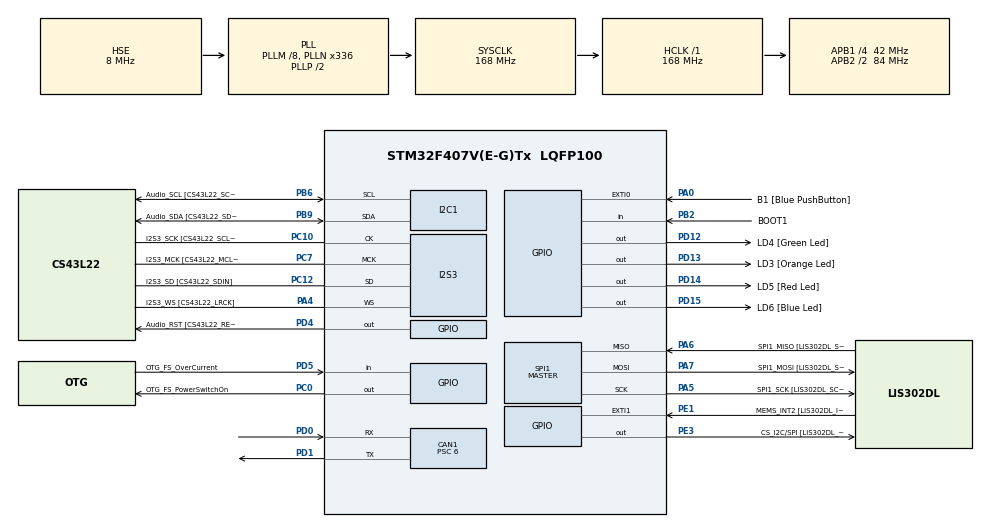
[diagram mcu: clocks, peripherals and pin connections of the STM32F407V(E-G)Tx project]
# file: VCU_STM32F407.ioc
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CAN1.ABOM=ENABLE
CAN1.BS1=CAN_BS1_11TQ
CAN1.BS2=CAN_BS2_2TQ
CAN1.CalculateBaudRate=500000
CAN1.CalculateTimeBit=2000
CAN1.CalculateTimeQuantum=142.85714285714286
CAN1.Prescaler=6
FREERTOS.INCLUDE_vTaskDelayUntil=1
FREERTOS.Tasks01=defaultTask,0,128,StartDefaultTask,Default,NULL,Dynamic,NULL,NULL
FREERTOS.configCHECK_FOR_STACK_OVERFLOW=2
FREERTOS.configMAX_PRIORITIES=20
FREERTOS.configTOTAL_HEAP_SIZE=40960
FREERTOS.configUSE_NEWLIB_REENTRANT=1
I2S3.AudioFreq-Half_Duplex_Master=I2S_AUDIOFREQ_96K
I2S3.ErrorAudioFreq=-2.34 %
I2S3.ErrorAudioFreq-Half_Duplex_Master=0.8 %
I2S3.FullDuplexMode=I2S_FULLDUPLEXMODE_DISABLE
I2S3.Instance=SPI$Index
I2S3.RealAudioFreq=93.75 KHz
I2S3.RealAudioFreq-Half_Duplex_Master=96.774 KHz
I2S3.VirtualMode=I2S_MODE_MASTER
IWDG.Prescaler=IWDG_PRESCALER_32
IWDG.Reload=500
Mcu.Family=STM32F4
Mcu.Name=STM32F407V(E-G)Tx
Mcu.Package=LQFP100
NVIC.CAN1_RX0_IRQn=true\:5\:0\:false\:false\:true\:true\:true\:true\:true
NVIC.CAN1_RX1_IRQn=true\:5\:0\:false\:false\:true\:true\:true\:true\:true
NVIC.CAN1_SCE_IRQn=true\:5\:0\:false\:false\:true\:true\:true\:true\:true
NVIC.CAN1_TX_IRQn=true\:5\:0\:false\:false\:true\:true\:true\:true\:true
NVIC.PriorityGroup=NVIC_PRIORITYGROUP_4
NVIC.TIM1_UP_TIM10_IRQn=true\:15\:0\:false\:false\:true\:false\:false\:true\:true
NVIC.TimeBase=TIM1_UP_TIM10_IRQn
NVIC.TimeBaseIP=TIM1
PA0-WKUP.GPIO_Label=B1 [Blue PushButton]
PA0-WKUP.GPIO_ModeDefaultEXTI=GPIO_MODE_EVT_RISING
PA0-WKUP.GPIO_PuPd=GPIO_NOPULL
PA0-WKUP.Signal=GPXTI0
PA10.GPIO_Label=OTG_FS_ID
PA10.GPIO_Mode=GPIO_MODE_AF_PP
PA10.GPIO_PuPd=GPIO_NOPULL
PA10.GPIO_Speed=GPIO_SPEED_FREQ_LOW
PA10.Signal=USB_OTG_FS_ID
PA11.GPIO_Label=OTG_FS_DM
PA11.GPIO_Mode=GPIO_MODE_AF_PP
PA11.GPIO_PuPd=GPIO_NOPULL
PA11.GPIO_Speed=GPIO_SPEED_FREQ_LOW
PA11.Signal=USB_OTG_FS_DM
PA12.GPIO_Label=OTG_FS_DP
PA12.GPIO_Mode=GPIO_MODE_AF_PP
PA12.GPIO_PuPd=GPIO_NOPULL
PA12.GPIO_Speed=GPIO_SPEED_FREQ_LOW
PA12.Signal=USB_OTG_FS_DP
PA13.GPIO_Label=SWDIO
PA13.Mode=Serial_Wire
PA13.Signal=SYS_JTMS-SWDIO
PA14.GPIO_Label=SWCLK
PA14.Mode=Serial_Wire
PA14.Signal=SYS_JTCK-SWCLK
PA4.GPIO_Label=I2S3_WS [CS43L22_LRCK]
PA4.GPIO_Mode=GPIO_MODE_AF_PP
PA4.GPIO_PuPd=GPIO_NOPULL
PA4.GPIO_Speed=GPIO_SPEED_FREQ_LOW
PA4.Mode=Half_Duplex_Master
PA4.Signal=I2S3_WS
PA5.GPIO_Label=SPI1_SCK [LIS302DL_SCL/SPC]
PA5.GPIO_Mode=GPIO_MODE_AF_PP
PA5.GPIO_PuPd=GPIO_NOPULL
PA5.GPIO_Speed=GPIO_SPEED_FREQ_LOW
PA5.Mode=Full_Duplex_Master
PA5.Signal=SPI1_SCK
PA6.GPIO_Label=SPI1_MISO [LIS302DL_SDO]
PA6.GPIO_Mode=GPIO_MODE_AF_PP
PA6.GPIO_PuPd=GPIO_NOPULL
PA6.GPIO_Speed=GPIO_SPEED_FREQ_LOW
PA6.Mode=Full_Duplex_Master
PA6.Signal=SPI1_MISO
PA7.GPIO_Label=SPI1_MOSI [LIS302DL_SDA/SDI/SDO]
PA7.GPIO_Mode=GPIO_MODE_AF_PP
PA7.GPIO_PuPd=GPIO_NOPULL
PA7.GPIO_Speed=GPIO_SPEED_FREQ_LOW
PA7.Mode=Full_Duplex_Master
PA7.Signal=SPI1_MOSI
PA9.GPIO_Label=VBUS_FS
PA9.GPIO_Mode=GPIO_MODE_INPUT
PA9.GPIO_PuPd=GPIO_NOPULL
PA9.Signal=USB_OTG_FS_VBUS
PB10.GPIO_Label=CLK_IN [MP45DT02_CLK]
PB10.GPIO_Mode=GPIO_MODE_AF_PP
PB10.GPIO_PuPd=GPIO_NOPULL
PB10.GPIO_Speed=GPIO_SPEED_FREQ_LOW
PB10.Signal=I2S2_CK
PB2.GPIO_Label=BOOT1
PB2.GPIO_Mode=GPIO_MODE_INPUT
PB2.GPIO_PuPd=GPIO_NOPULL
PB2.Signal=GPIO_Input
PB3.GPIO_Label=SWO
PB3.Signal=SYS_JTDO-SWO
PB6.GPIO_Label=Audio_SCL [CS43L22_SCL]
PB6.GPIO_Mode=GPIO_MODE_AF_OD
PB6.GPIO_Pu=GPIO_PULLUP
PB6.GPIO_PuPd=GPIO_NOPULL
PB6.GPIO_Speed=GPIO_SPEED_FREQ_LOW
PB6.Mode=I2C
PB6.Signal=I2C1_SCL
PB9.GPIO_Label=Audio_SDA [CS43L22_SDA]
PB9.GPIO_Mode=GPIO_MODE_AF_OD
PB9.GPIO_Pu=GPIO_PULLUP
PB9.GPIO_PuPd=GPIO_NOPULL
PB9.GPIO_Speed=GPIO_SPEED_FREQ_LOW
PB9.Mode=I2C
PB9.Signal=I2C1_SDA
PC0.GPIO_Label=OTG_FS_PowerSwitchOn
PC0.GPIO_PuPd=GPIO_NOPULL
PC0.GPIO_Speed=GPIO_SPEED_FREQ_LOW
PC0.PinState=GPIO_PIN_SET
PC0.Signal=GPIO_Output
PC10.GPIO_Label=I2S3_SCK [CS43L22_SCLK]
PC10.GPIO_Mode=GPIO_MODE_AF_PP
PC10.GPIO_PuPd=GPIO_NOPULL
PC10.GPIO_Speed=GPIO_SPEED_FREQ_LOW
PC10.Mode=Half_Duplex_Master
PC10.Signal=I2S3_CK
PC12.GPIO_Label=I2S3_SD [CS43L22_SDIN]
PC12.GPIO_Mode=GPIO_MODE_AF_PP
PC12.GPIO_PuPd=GPIO_NOPULL
PC12.GPIO_Speed=GPIO_SPEED_FREQ_LOW
PC12.Mode=Half_Duplex_Master
PC12.Signal=I2S3_SD
PC14-OSC32_IN.GPIO_Label=PC14-OSC32_IN
PC14-OSC32_IN.Mode=LSE-External-Oscillator
PC14-OSC32_IN.Signal=RCC_OSC32_IN
PC15-OSC32_OUT.GPIO_Label=PC15-OSC32_OUT
PC15-OSC32_OUT.Mode=LSE-External-Oscillator
PC15-OSC32_OUT.Signal=RCC_OSC32_OUT
PC3.GPIO_Label=PDM_OUT [MP45DT02_DOUT]
PC3.GPIO_Mode=GPIO_MODE_AF_PP
PC3.GPIO_PuPd=GPIO_NOPULL
PC3.GPIO_Speed=GPIO_SPEED_FREQ_LOW
PC3.Signal=I2S2_SD
PC7.GPIO_Label=I2S3_MCK [CS43L22_MCLK]
PC7.GPIO_Mode=GPIO_MODE_AF_PP
PC7.GPIO_PuPd=GPIO_NOPULL
PC7.GPIO_Speed=GPIO_SPEED_FREQ_LOW
PC7.Mode=Master_Clock_Activated
PC7.Signal=I2S3_MCK
PD0.GPIO_PuPd=GPIO_PULLUP
PD0.Mode=CAN_Activate
PD0.Signal=CAN1_RX
PD1.Mode=CAN_Activate
PD1.Signal=CAN1_TX
PD12.GPIO_Label=LD4 [Green Led]
PD12.GPIO_PuPd=GPIO_NOPULL
PD12.GPIO_Speed=GPIO_SPEED_FREQ_LOW
PD12.Signal=GPIO_Output
PD13.GPIO_Label=LD3 [Orange Led]
PD13.GPIO_PuPd=GPIO_NOPULL
PD13.GPIO_Speed=GPIO_SPEED_FREQ_LOW
PD13.Signal=GPIO_Output
PD14.GPIO_Label=LD5 [Red Led]
PD14.GPIO_PuPd=GPIO_NOPULL
PD14.GPIO_Speed=GPIO_SPEED_FREQ_LOW
PD14.Signal=GPIO_Output
PD15.GPIO_Label=LD6 [Blue Led]
PD15.GPIO_PuPd=GPIO_NOPULL
PD15.GPIO_Speed=GPIO_SPEED_FREQ_LOW
PD15.Signal=GPIO_Output
PD4.GPIO_Label=Audio_RST [CS43L22_RESET]
PD4.GPIO_PuPd=GPIO_NOPULL
PD4.GPIO_Speed=GPIO_SPEED_FREQ_LOW
PD4.Signal=GPIO_Output
PD5.GPIO_Label=OTG_FS_OverCurrent
PD5.GPIO_Mode=GPIO_MODE_INPUT
PD5.GPIO_PuPd=GPIO_NOPULL
PD5.Signal=GPIO_Input
PE1.GPIO_Label=MEMS_INT2 [LIS302DL_INT2]
PE1.GPIO_ModeDefaultEXTI=GPIO_MODE_EVT_RISING
PE1.GPIO_PuPd=GPIO_NOPULL
PE1.Signal=GPXTI1
PE3.GPIO_Label=CS_I2C/SPI [LIS302DL_CS_I2C/SPI]
PE3.GPIO_PuPd=GPIO_NOPULL
PE3.GPIO_Speed=GPIO_SPEED_FREQ_LOW
PE3.Signal=GPIO_Output
PH0-OSC_IN.GPIO_Label=PH0-OSC_IN
PH0-OSC_IN.Mode=HSE-External-Oscillator
PH0-OSC_IN.Signal=RCC_OSC_IN
PH1-OSC_OUT.GPIO_Label=PH1-OSC_OUT
PH1-OSC_OUT.Mode=HSE-External-Oscillator
PH1-OSC_OUT.Signal=RCC_OSC_OUT
ProjectManager.HeapSize=0x200
ProjectManager.StackSize=0x400
ProjectManager.TargetToolchain=STM32CubeIDE
RCC.48MHZClocksFreq_Value=48000000
RCC.AHBFreq_Value=168000000
RCC.APB1CLKDivider=RCC_HCLK_DIV4
RCC.APB1Freq_Value=42000000
RCC.APB1TimFreq_Value=84000000
RCC.APB2CLKDivider=RCC_HCLK_DIV2
RCC.APB2Freq_Value=84000000
RCC.APB2TimFreq_Value=168000000
RCC.CortexFreq_Value=168000000
RCC.HCLKFreq_Value=168000000
RCC.HSE_VALUE=8000000
RCC.HSI_VALUE=16000000
RCC.PLLM=8
RCC.PLLN=336
RCC.PLLQ=7
RCC.PLLSourceVirtual=RCC_PLLSOURCE_HSE
RCC.SYSCLKFreq_VALUE=168000000
RCC.SYSCLKSource=RCC_SYSCLKSOURCE_PLLCLK
RCC.VCOOutputFreq_Value=336000000
SPI1.BaudRatePrescaler-Full_Duplex_Master=SPI_BAUDRATEPRESCALER_2
SPI1.CalculateBaudRate-Full_Duplex_Master=42.0 MBits/s
SPI1.Direction=SPI_DIRECTION_2LINES
SPI1.Mode=SPI_MODE_MASTER
SPI1.Mode-Full_Duplex_Master=SPI_MODE_MASTER
SPI1.VirtualType=VM_MASTER
VP_FREERTOS_VS_CMSIS_V1.Mode=CMSIS_V1
VP_IWDG_VS_IWDG.Mode=IWDG_Activate
VP_SYS_VS_tim1.Mode=TIM1
board=STM32F407G-DISC1

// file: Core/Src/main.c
/* USER CODE BEGIN Header */
/**
 ******************************************************************************
 * @file           : main.c
 * @brief          : Main program body
 ******************************************************************************
 * @attention
 *
 * Copyright (c) 2026 STMicroelectronics.
 * All rights reserved.
 *
 * This software is licensed under terms that can be found in the LICENSE file
 * in the root directory of this software component.
 * If no LICENSE file comes with this software, it is provided AS-IS.
 *
 ******************************************************************************
 */
/* USER CODE END Header */
#include "main.h"
#include "cmsis_os.h"

/* USER CODE BEGIN Includes */

#include "stdio.h"
#include "VCU.h"
#include "structs.h"
#include "queueHandles.h"
#include "stm32Interface.h"
#include "TaskCanRX.h"
#include "selftest.h"

/* USER CODE END Includes */

CAN_HandleTypeDef hcan1;

I2C_HandleTypeDef hi2c1;

I2S_HandleTypeDef hi2s3;

IWDG_HandleTypeDef hiwdg;

SPI_HandleTypeDef hspi1;

osThreadId defaultTaskHandle;

void SystemClock_Config(void);
static void MX_GPIO_Init(void);
static void MX_I2C1_Init(void);
static void MX_I2S3_Init(void);
static void MX_SPI1_Init(void);
static void MX_CAN1_Init(void);
static void MX_IWDG_Init(void);
void StartDefaultTask(void const * argument);

/* USER CODE BEGIN PFP */
static void StartCan(void);
/* USER CODE END PFP */

/* USER CODE BEGIN 0 */

// 1 si le dernier redemarrage vient du watchdog IWDG (lu au demarrage, visible au debogueur)
volatile uint8_t lastResetByIwdg = 0;

uint8_t ubKeyNumber = 0x0;
// CAN_HandleTypeDef hcan1;

/* USER CODE END 0 */

int main(void)
{

  /* MCU Configuration--------------------------------------------------------*/

  /* Reset of all peripherals, Initializes the Flash interface and the Systick. */
  HAL_Init();

  /* USER CODE BEGIN Init */
  // Cause du dernier redemarrage : la lire avant tout, puis effacer les drapeaux pour le prochain
  lastResetByIwdg = (__HAL_RCC_GET_FLAG(RCC_FLAG_IWDGRST) != RESET) ? 1U : 0U;
  __HAL_RCC_CLEAR_RESET_FLAGS();
  /* USER CODE END Init */

  /* Configure the system clock */
  SystemClock_Config();

  /* USER CODE BEGIN SysInit */
  // L'IWDG continue de compter quand le debogueur arrete le processeur : le figer, sinon
  // chaque point d'arret redemarrerait la carte
  __HAL_DBGMCU_FREEZE_IWDG();
  /* USER CODE END SysInit */

  /* Initialize all configured peripherals */
  MX_GPIO_Init();
  MX_I2C1_Init();
  MX_I2S3_Init();
  MX_SPI1_Init();
  MX_CAN1_Init();
  MX_IWDG_Init();
  /* USER CODE BEGIN 2 */
  if (lastResetByIwdg)
  {
    printf("Redemarrage par le watchdog (IWDG) : une tache ne repondait plus\n");
  }
  /* USER CODE END 2 */

  /* Create the thread(s) */
  /* definition and creation of defaultTask */
  osThreadDef(defaultTask, StartDefaultTask, osPriorityNormal, 0, 128);
  defaultTaskHandle = osThreadCreate(osThread(defaultTask), NULL);

  /* USER CODE BEGIN RTOS_THREADS */
  /* add threads, ... */
  MainApp();
  StartCan(); // le CAN demarre une fois les queues creees par MainApp() (C1)

  /* USER CODE END RTOS_THREADS */

  /* Start scheduler */
  osKernelStart();

  /* We should never get here as control is now taken by the scheduler */

  /* Infinite loop */
  while (1)
  {

    /* USER CODE BEGIN 3 */
    printf("HELLO WORLD\r\n");
    // HAL_Delay(500);
  }
  /* USER CODE END 3 */
}

void SystemClock_Config(void)
{
  RCC_OscInitTypeDef RCC_OscInitStruct = {0};
  RCC_ClkInitTypeDef RCC_ClkInitStruct = {0};

  /** Configure the main internal regulator output voltage
  */
  __HAL_RCC_PWR_CLK_ENABLE();
  __HAL_PWR_VOLTAGESCALING_CONFIG(PWR_REGULATOR_VOLTAGE_SCALE1);

  /** Initializes the RCC Oscillators according to the specified parameters
  * in the RCC_OscInitTypeDef structure.
  */
  RCC_OscInitStruct.OscillatorType = RCC_OSCILLATORTYPE_LSI|RCC_OSCILLATORTYPE_HSE;
  RCC_OscInitStruct.HSEState = RCC_HSE_ON;
  RCC_OscInitStruct.LSIState = RCC_LSI_ON;
  RCC_OscInitStruct.PLL.PLLState = RCC_PLL_ON;
  RCC_OscInitStruct.PLL.PLLSource = RCC_PLLSOURCE_HSE;
  RCC_OscInitStruct.PLL.PLLM = 8;
  RCC_OscInitStruct.PLL.PLLN = 336;
  RCC_OscInitStruct.PLL.PLLP = RCC_PLLP_DIV2;
  RCC_OscInitStruct.PLL.PLLQ = 7;
  if (HAL_RCC_OscConfig(&RCC_OscInitStruct) != HAL_OK)
  {
    Error_Handler();
  }

  /** Initializes the CPU, AHB and APB buses clocks
  */
  RCC_ClkInitStruct.ClockType = RCC_CLOCKTYPE_HCLK|RCC_CLOCKTYPE_SYSCLK
                              |RCC_CLOCKTYPE_PCLK1|RCC_CLOCKTYPE_PCLK2;
  RCC_ClkInitStruct.SYSCLKSource = RCC_SYSCLKSOURCE_PLLCLK;
  RCC_ClkInitStruct.AHBCLKDivider = RCC_SYSCLK_DIV1;
  RCC_ClkInitStruct.APB1CLKDivider = RCC_HCLK_DIV4;
  RCC_ClkInitStruct.APB2CLKDivider = RCC_HCLK_DIV2;

  if (HAL_RCC_ClockConfig(&RCC_ClkInitStruct, FLASH_LATENCY_5) != HAL_OK)
  {
    Error_Handler();
  }
}

static void MX_CAN1_Init(void)
{

  /* USER CODE BEGIN CAN1_Init 1 */
  CAN_FilterTypeDef sFilterConfig;

  /* USER CODE END CAN1_Init 1 */
  hcan1.Instance = CAN1;
  hcan1.Init.Prescaler = 6;
  hcan1.Init.Mode = CAN_MODE_NORMAL;
  hcan1.Init.SyncJumpWidth = CAN_SJW_1TQ;
  hcan1.Init.TimeSeg1 = CAN_BS1_11TQ;
  hcan1.Init.TimeSeg2 = CAN_BS2_2TQ;
  hcan1.Init.TimeTriggeredMode = DISABLE;
  hcan1.Init.AutoBusOff = ENABLE;
  hcan1.Init.AutoWakeUp = DISABLE;
  hcan1.Init.AutoRetransmission = DISABLE;
  hcan1.Init.ReceiveFifoLocked = DISABLE;
  hcan1.Init.TransmitFifoPriority = DISABLE;
  if (HAL_CAN_Init(&hcan1) != HAL_OK)
  {
    Error_Handler();
  }
  /* USER CODE BEGIN CAN1_Init 2 */
  SelfTest_ConfigureCan(&hcan1); // autotest de la carte nue (selftest.h), sans effet si VCU_SELFTEST vaut 0

  /*##-2- Configure the CAN Filter ###########################################*/
  sFilterConfig.FilterBank = 0;
  sFilterConfig.FilterMode = CAN_FILTERMODE_IDMASK;
  sFilterConfig.FilterScale = CAN_FILTERSCALE_32BIT;
  sFilterConfig.FilterIdHigh = 0x0000;
  sFilterConfig.FilterIdLow = 0x0000;
  sFilterConfig.FilterMaskIdHigh = 0x0000;
  sFilterConfig.FilterMaskIdLow = 0x0000;
  sFilterConfig.FilterFIFOAssignment = CAN_RX_FIFO0;
  sFilterConfig.FilterActivation = ENABLE;
  sFilterConfig.SlaveStartFilterBank = 14;

  if (HAL_CAN_ConfigFilter(&hcan1, &sFilterConfig) != HAL_OK)
  {

    Error_Handler();
  }

  // Le CAN demarre plus tard, dans StartCan(), une fois les queues creees par MainApp() (C1)

  /* USER CODE END CAN1_Init 2 */

}

static void MX_I2C1_Init(void)
{

  hi2c1.Instance = I2C1;
  hi2c1.Init.ClockSpeed = 100000;
  hi2c1.Init.DutyCycle = I2C_DUTYCYCLE_2;
  hi2c1.Init.OwnAddress1 = 0;
  hi2c1.Init.AddressingMode = I2C_ADDRESSINGMODE_7BIT;
  hi2c1.Init.DualAddressMode = I2C_DUALADDRESS_DISABLE;
  hi2c1.Init.OwnAddress2 = 0;
  hi2c1.Init.GeneralCallMode = I2C_GENERALCALL_DISABLE;
  hi2c1.Init.NoStretchMode = I2C_NOSTRETCH_DISABLE;
  if (HAL_I2C_Init(&hi2c1) != HAL_OK)
  {
    Error_Handler();
  }

}

static void MX_I2S3_Init(void)
{

  hi2s3.Instance = SPI3;
  hi2s3.Init.Mode = I2S_MODE_MASTER_TX;
  hi2s3.Init.Standard = I2S_STANDARD_PHILIPS;
  hi2s3.Init.DataFormat = I2S_DATAFORMAT_16B;
  hi2s3.Init.MCLKOutput = I2S_MCLKOUTPUT_ENABLE;
  hi2s3.Init.AudioFreq = I2S_AUDIOFREQ_96K;
  hi2s3.Init.CPOL = I2S_CPOL_LOW;
  hi2s3.Init.ClockSource = I2S_CLOCK_PLL;
  hi2s3.Init.FullDuplexMode = I2S_FULLDUPLEXMODE_DISABLE;
  if (HAL_I2S_Init(&hi2s3) != HAL_OK)
  {
    Error_Handler();
  }

}

static void MX_IWDG_Init(void)
{

  hiwdg.Instance = IWDG;
  hiwdg.Init.Prescaler = IWDG_PRESCALER_32;
  hiwdg.Init.Reload = 500;
  if (HAL_IWDG_Init(&hiwdg) != HAL_OK)
  {
    Error_Handler();
  }

}

static void MX_SPI1_Init(void)
{

  /* SPI1 parameter configuration*/
  hspi1.Instance = SPI1;
  hspi1.Init.Mode = SPI_MODE_MASTER;
  hspi1.Init.Direction = SPI_DIRECTION_2LINES;
  hspi1.Init.DataSize = SPI_DATASIZE_8BIT;
  hspi1.Init.CLKPolarity = SPI_POLARITY_LOW;
  hspi1.Init.CLKPhase = SPI_PHASE_1EDGE;
  hspi1.Init.NSS = SPI_NSS_SOFT;
  hspi1.Init.BaudRatePrescaler = SPI_BAUDRATEPRESCALER_2;
  hspi1.Init.FirstBit = SPI_FIRSTBIT_MSB;
  hspi1.Init.TIMode = SPI_TIMODE_DISABLE;
  hspi1.Init.CRCCalculation = SPI_CRCCALCULATION_DISABLE;
  hspi1.Init.CRCPolynomial = 10;
  if (HAL_SPI_Init(&hspi1) != HAL_OK)
  {
    Error_Handler();
  }

}

static void MX_GPIO_Init(void)
{
  GPIO_InitTypeDef GPIO_InitStruct = {0};

  /* GPIO Ports Clock Enable */
  __HAL_RCC_GPIOE_CLK_ENABLE();
  __HAL_RCC_GPIOC_CLK_ENABLE();
  __HAL_RCC_GPIOH_CLK_ENABLE();
  __HAL_RCC_GPIOA_CLK_ENABLE();
  __HAL_RCC_GPIOB_CLK_ENABLE();
  __HAL_RCC_GPIOD_CLK_ENABLE();

  /*Configure GPIO pin Output Level */
  HAL_GPIO_WritePin(CS_I2C_SPI_GPIO_Port, CS_I2C_SPI_Pin, GPIO_PIN_RESET);

  /*Configure GPIO pin Output Level */
  HAL_GPIO_WritePin(OTG_FS_PowerSwitchOn_GPIO_Port, OTG_FS_PowerSwitchOn_Pin, GPIO_PIN_SET);

  /*Configure GPIO pin Output Level */
  HAL_GPIO_WritePin(GPIOD, LD4_Pin|LD3_Pin|LD5_Pin|LD6_Pin
                          |Audio_RST_Pin, GPIO_PIN_RESET);

  /*Configure GPIO pin : CS_I2C_SPI_Pin */
  GPIO_InitStruct.Pin = CS_I2C_SPI_Pin;
  GPIO_InitStruct.Mode = GPIO_MODE_OUTPUT_PP;
  GPIO_InitStruct.Pull = GPIO_NOPULL;
  GPIO_InitStruct.Speed = GPIO_SPEED_FREQ_LOW;
  HAL_GPIO_Init(CS_I2C_SPI_GPIO_Port, &GPIO_InitStruct);

  /*Configure GPIO pin : OTG_FS_PowerSwitchOn_Pin */
  GPIO_InitStruct.Pin = OTG_FS_PowerSwitchOn_Pin;
  GPIO_InitStruct.Mode = GPIO_MODE_OUTPUT_PP;
  GPIO_InitStruct.Pull = GPIO_NOPULL;
  GPIO_InitStruct.Speed = GPIO_SPEED_FREQ_LOW;
  HAL_GPIO_Init(OTG_FS_PowerSwitchOn_GPIO_Port, &GPIO_InitStruct);

  /*Configure GPIO pin : PDM_OUT_Pin */
  GPIO_InitStruct.Pin = PDM_OUT_Pin;
  GPIO_InitStruct.Mode = GPIO_MODE_AF_PP;
  GPIO_InitStruct.Pull = GPIO_NOPULL;
  GPIO_InitStruct.Speed = GPIO_SPEED_FREQ_LOW;
  GPIO_InitStruct.Alternate = GPIO_AF5_SPI2;
  HAL_GPIO_Init(PDM_OUT_GPIO_Port, &GPIO_InitStruct);

  /*Configure GPIO pin : B1_Pin */
  GPIO_InitStruct.Pin = B1_Pin;
  GPIO_InitStruct.Mode = GPIO_MODE_EVT_RISING;
  GPIO_InitStruct.Pull = GPIO_NOPULL;
  HAL_GPIO_Init(B1_GPIO_Port, &GPIO_InitStruct);

  /*Configure GPIO pin : BOOT1_Pin */
  GPIO_InitStruct.Pin = BOOT1_Pin;
  GPIO_InitStruct.Mode = GPIO_MODE_INPUT;
  GPIO_InitStruct.Pull = GPIO_NOPULL;
  HAL_GPIO_Init(BOOT1_GPIO_Port, &GPIO_InitStruct);

  /*Configure GPIO pin : CLK_IN_Pin */
  GPIO_InitStruct.Pin = CLK_IN_Pin;
  GPIO_InitStruct.Mode = GPIO_MODE_AF_PP;
  GPIO_InitStruct.Pull = GPIO_NOPULL;
  GPIO_InitStruct.Speed = GPIO_SPEED_FREQ_LOW;
  GPIO_InitStruct.Alternate = GPIO_AF5_SPI2;
  HAL_GPIO_Init(CLK_IN_GPIO_Port, &GPIO_InitStruct);

  /*Configure GPIO pins : LD4_Pin LD3_Pin LD5_Pin LD6_Pin
                           Audio_RST_Pin */
  GPIO_InitStruct.Pin = LD4_Pin|LD3_Pin|LD5_Pin|LD6_Pin
                          |Audio_RST_Pin;
  GPIO_InitStruct.Mode = GPIO_MODE_OUTPUT_PP;
  GPIO_InitStruct.Pull = GPIO_NOPULL;
  GPIO_InitStruct.Speed = GPIO_SPEED_FREQ_LOW;
  HAL_GPIO_Init(GPIOD, &GPIO_InitStruct);

  /*Configure GPIO pin : VBUS_FS_Pin */
  GPIO_InitStruct.Pin = VBUS_FS_Pin;
  GPIO_InitStruct.Mode = GPIO_MODE_INPUT;
  GPIO_InitStruct.Pull = GPIO_NOPULL;
  HAL_GPIO_Init(VBUS_FS_GPIO_Port, &GPIO_InitStruct);

  /*Configure GPIO pins : OTG_FS_ID_Pin OTG_FS_DM_Pin OTG_FS_DP_Pin */
  GPIO_InitStruct.Pin = OTG_FS_ID_Pin|OTG_FS_DM_Pin|OTG_FS_DP_Pin;
  GPIO_InitStruct.Mode = GPIO_MODE_AF_PP;
  GPIO_InitStruct.Pull = GPIO_NOPULL;
  GPIO_InitStruct.Speed = GPIO_SPEED_FREQ_LOW;
  GPIO_InitStruct.Alternate = GPIO_AF10_OTG_FS;
  HAL_GPIO_Init(GPIOA, &GPIO_InitStruct);

  /*Configure GPIO pin : OTG_FS_OverCurrent_Pin */
  GPIO_InitStruct.Pin = OTG_FS_OverCurrent_Pin;
  GPIO_InitStruct.Mode = GPIO_MODE_INPUT;
  GPIO_InitStruct.Pull = GPIO_NOPULL;
  HAL_GPIO_Init(OTG_FS_OverCurrent_GPIO_Port, &GPIO_InitStruct);

  /*Configure GPIO pin : MEMS_INT2_Pin */
  GPIO_InitStruct.Pin = MEMS_INT2_Pin;
  GPIO_InitStruct.Mode = GPIO_MODE_EVT_RISING;
  GPIO_InitStruct.Pull = GPIO_NOPULL;
  HAL_GPIO_Init(MEMS_INT2_GPIO_Port, &GPIO_InitStruct);

}

/* USER CODE BEGIN 4 */
// Demarre le CAN, sa notification de reception et celle du bus-off. Appelee apres MainApp() : une trame
// recue trouve toujours sa queue. Les interruptions restent masquees par FreeRTOS jusqu'a osKernelStart().
static void StartCan(void)
{
  if (HAL_CAN_Start(&hcan1) != HAL_OK)
  {
    Error_Handler();
  }
  if (HAL_CAN_ActivateNotification(&hcan1, CAN_IT_RX_FIFO0_MSG_PENDING | CAN_IT_ERROR | CAN_IT_BUSOFF) != HAL_OK)
  {
    Error_Handler();
  }
}

// Reception CAN (FIFO0) : lit toutes les trames en attente et les remet au VCU. Une erreur est
// comptee, jamais d'Error_Handler() ici : le VCU continuerait sinon a tourner fige, interruptions coupees.
void HAL_CAN_RxFifo0MsgPendingCallback(CAN_HandleTypeDef *hcan)
{
  BaseType_t woken = pdFALSE;
  CAN_RxHeaderTypeDef header;
  CanFrame_t frame = {0};

  while (HAL_CAN_GetRxFifoFillLevel(hcan, CAN_RX_FIFO0) > 0U)
  {
    if (HAL_CAN_GetRxMessage(hcan, CAN_RX_FIFO0, &header, frame.data) != HAL_OK)
    {
      canRxStats.isrErrors++;
      break;
    }
    frame.ide = (header.IDE == CAN_ID_EXT) ? 1U : 0U;
    frame.id = frame.ide ? header.ExtId : header.StdId;
    frame.dlc = (uint8_t)header.DLC;
    frame.rxTick = xTaskGetTickCountFromISR();
    CanRx_OnFrameFromISR(&frame, &woken);
  }
  portYIELD_FROM_ISR(woken); // reveille TaskCanRx tout de suite, sans attendre le prochain tick
}

// Erreur du CAN (interruption SCE). Seul le bus-off est active : il est compte, et le controleur
// repart seul apres 128 x 11 bits recessifs, environ 3 ms (AutoBusOff, T14). La HAL cumule les
// erreurs dans hcan->ErrorCode : le bit est efface pour que le bus-off suivant soit compte aussi.
void HAL_CAN_ErrorCallback(CAN_HandleTypeDef *hcan)
{
  if ((HAL_CAN_GetError(hcan) & HAL_CAN_ERROR_BOF) != 0U)
  {
    canRxStats.busOff++;
    hcan->ErrorCode &= ~HAL_CAN_ERROR_BOF;
  }
}

// Emission CAN (stm32Interface.h). Renvoie false si les 3 boites d'emission sont pleines : la trame
// est abandonnee, la suivante partira (la consigne est envoyee en continu).
bool CanTx_Send(const CanFrame_t *frame)
{
  CAN_TxHeaderTypeDef header = {0};
  uint32_t mailbox;
  header.IDE = frame->ide ? CAN_ID_EXT : CAN_ID_STD;
  header.StdId = frame->ide ? 0U : frame->id;
  header.ExtId = frame->ide ? frame->id : 0U;
  header.RTR = CAN_RTR_DATA;
  header.DLC = frame->dlc;
  header.TransmitGlobalTime = DISABLE;
  return HAL_CAN_AddTxMessage(&hcan1, &header, frame->data, &mailbox) == HAL_OK;
}

// Recharge le compteur de l'IWDG (stm32Interface.h). Appelee par TaskWDG, seulement quand
// toutes les taches surveillees sont a l'heure.
void refreshIWDG(void)
{
  HAL_IWDG_Refresh(&hiwdg);
}

int _write(int file, char *ptr, int len)
{
  (void)file;
  int DataIdx;

  for (DataIdx = 0; DataIdx < len; DataIdx++)
  {
    ITM_SendChar(*ptr++);
  }
  return len;
}

/* USER CODE END 4 */

void StartDefaultTask(void const * argument)
{
  /* USER CODE BEGIN 5 */
  /* Tache imposee par CubeMX, impossible a supprimer : elle se termine tout de suite et rend
     sa memoire au tas. Les taches du VCU sont creees par MainApp(). */
  SelfTest_Start(); // autotest de la carte nue (selftest.h), sans effet si VCU_SELFTEST vaut 0
  vTaskDelete(NULL);
  /* USER CODE END 5 */
}

void HAL_TIM_PeriodElapsedCallback(TIM_HandleTypeDef *htim)
{
  if (htim->Instance == TIM1)
  {
    HAL_IncTick();
  }
}

void Error_Handler(void)
{
  __disable_irq();
  while (1)
  {
  }
}

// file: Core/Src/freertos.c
/* USER CODE BEGIN Header */
/**
  ******************************************************************************
  * File Name          : freertos.c
  * Description        : Code for freertos applications
  ******************************************************************************
  * @attention
  *
  * Copyright (c) 2026 STMicroelectronics.
  * All rights reserved.
  *
  * This software is licensed under terms that can be found in the LICENSE file
  * in the root directory of this software component.
  * If no LICENSE file comes with this software, it is provided AS-IS.
  *
  ******************************************************************************
  */
/* USER CODE END Header */

#include "FreeRTOS.h"
#include "task.h"
#include "main.h"

/* GetIdleTaskMemory prototype (linked to static allocation support) */
void vApplicationGetIdleTaskMemory( StaticTask_t **ppxIdleTaskTCBBuffer, StackType_t **ppxIdleTaskStackBuffer, uint32_t *pulIdleTaskStackSize );

/* Hook prototypes */
void vApplicationStackOverflowHook(xTaskHandle xTask, signed char *pcTaskName);

/* USER CODE BEGIN 4 */
void vApplicationStackOverflowHook(xTaskHandle xTask, signed char *pcTaskName)
{
  /* Une tache a deborde de sa pile (R4) : tout arreter tout de suite. Au debogueur, pcTaskName
     donne le nom de la tache fautive, au lieu d'un plantage aleatoire bien plus tard. */
  (void)xTask;
  (void)pcTaskName;
  taskDISABLE_INTERRUPTS();
  for (;;)
  {
  }
}
/* USER CODE END 4 */

/* USER CODE BEGIN GET_IDLE_TASK_MEMORY */
static StaticTask_t xIdleTaskTCBBuffer;
static StackType_t xIdleStack[configMINIMAL_STACK_SIZE];

void vApplicationGetIdleTaskMemory( StaticTask_t **ppxIdleTaskTCBBuffer, StackType_t **ppxIdleTaskStackBuffer, uint32_t *pulIdleTaskStackSize )
{
  *ppxIdleTaskTCBBuffer = &xIdleTaskTCBBuffer;
  *ppxIdleTaskStackBuffer = &xIdleStack[0];
  *pulIdleTaskStackSize = configMINIMAL_STACK_SIZE;
  /* place for user code */
}
/* USER CODE END GET_IDLE_TASK_MEMORY */
